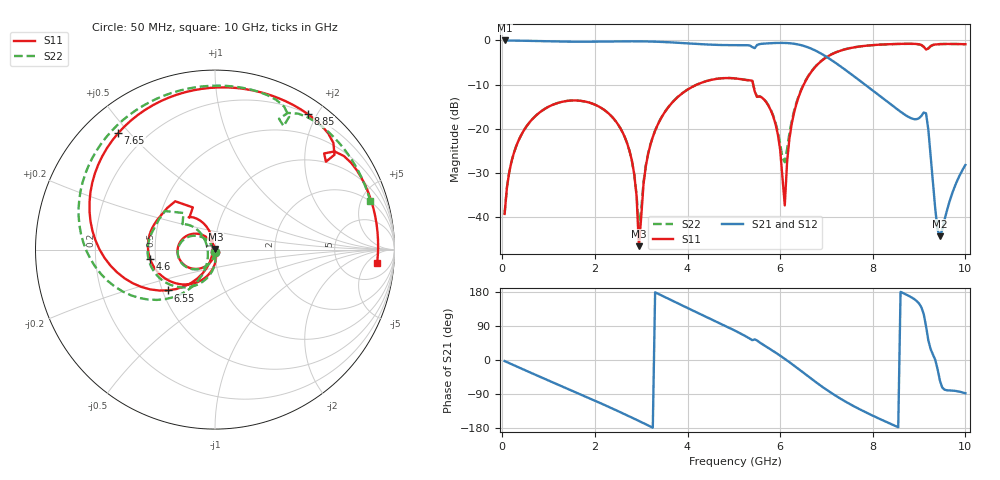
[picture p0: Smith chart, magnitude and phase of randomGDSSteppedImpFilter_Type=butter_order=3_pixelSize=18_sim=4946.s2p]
! freq	dB(S11)	phase(S11)	dB(S12)	phase(S12)
!  dB(S21)	phase(S21)	dB(S22)	phase(S22)
!S-par simulation data
#  GHz  S  DB  R 50
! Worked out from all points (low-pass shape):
!   200 points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, 50 MHz to 10 GHz, reference 50 ohm
!   highest |S21| = -0.01 dB at 50 MHz (marker M1); lowest = -44.4 dB at 9.45 GHz (marker M2)
!   |S21| within 3 dB of the highest: start of sweep to 6.888 GHz
!   lowest |S11| = -46.6 dB at 2.95 GHz (marker M3), VSWR 1.01, Z = 50.2 + j0.402 ohm
!   |S11| at or under -10 dB: start of sweep to 4.204 GHz; 5.418 GHz to 6.51 GHz (1.092 GHz wide, 18.3 % of centre)
!   |S22| runs from -42.4 to -0.8 dB; largest |S21 - S12| = 0
!   S11 on the Smith chart (normalised r, x): 50 MHz: 1.00, -0.02; 4.6 GHz: 0.47, -0.06; 6.55 GHz: 0.53, -0.28; 7.65 GHz: 0.10, +0.46; 8.85 GHz: 0.20, +1.88; 10 GHz: 12, -10
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0.05  -39.30 -91.6  -0.01 -2.8  -0.01 -2.8  -39.30 -91.5
0.2  -27.38 -101.2  -0.03 -11.1  -0.03 -11.1  -27.38 -100.8
0.5  -19.82 -118.3  -0.08 -27.4  -0.08 -27.4  -19.82 -117.4
1.75  -13.77 173.7  -0.30 -94.0  -0.30 -94.0  -13.78 177.3
2.65  -22.03 123.0  -0.21 -143.5  -0.21 -143.5  -22.05 131.8
2.85  -30.40 109.9  -0.20 -155.0  -0.20 -155.0  -30.34 127.9
2.95  -46.61 58.8  -0.21 -160.8  -0.21 -160.8  -42.38 175.8
3.1  -28.46 -80.9  -0.23 -169.6  -0.23 -169.6  -28.25 -87.2
3.4  -18.17 -100.1  -0.32 172.6  -0.32 172.6  -18.12 -98.1
4.6  -8.75 -171.5  -1.00 102.5  -1.00 102.5  -8.74 -163.4
5.05  -8.63 161.4  -1.06 75.9  -1.06 75.9  -8.61 171.8
5.85  -17.21 110.4  -0.60 23.6  -0.60 23.6  -17.01 131.4
6.1  -37.37 -157.6  -0.57 3.0  -0.57 3.0  -27.59 -162.5
6.25  -18.88 -114.4  -0.68 -10.2  -0.68 -10.2  -18.23 -117.0
6.55  -9.17 -139.2  -1.37 -38.0  -1.37 -38.0  -9.05 -131.2
6.7  -6.73 -153.2  -1.99 -51.9  -1.99 -51.9  -6.65 -143.2
7.65  -1.48 129.8  -8.56 -125.8  -8.56 -125.8  -1.46 146.5
8.35  -0.85 85.5  -14.17 -166.5  -14.17 -166.5  -0.86 105.5
8.85  -0.77 55.6  -17.71 164.3  -17.71 164.3  -0.78 77.3
9.15  -2.07 38.4  -16.52 89.2  -16.52 89.2  -2.08 61.0
9.45  -0.83 26.2  -44.39 -54.3  -44.39 -54.3  -0.83 48.9
10  -0.85 -4.9  -28.22 -87.8  -28.22 -87.8  -0.85 17.5
